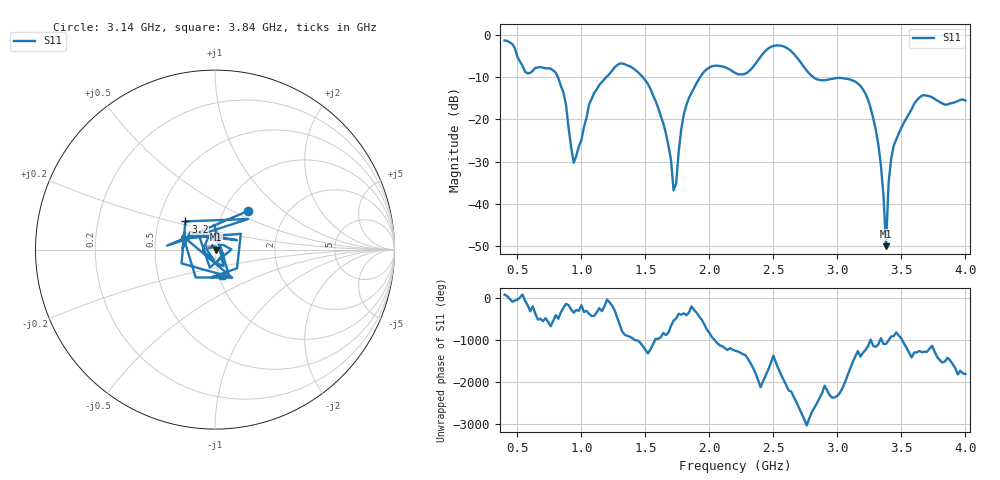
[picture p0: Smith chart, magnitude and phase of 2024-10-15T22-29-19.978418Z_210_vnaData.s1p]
! Created with skrf (http://scikit-rf.org).
# Hz S RI R 50.0
!freq ReS11 ImS11
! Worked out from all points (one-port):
!   181 points, 400 MHz to 4 GHz, reference 50 ohm
!   lowest |S11| = -50.1 dB at 3.38 GHz (marker M1), VSWR 1.01, Z = 50.3 - j0.0736 ohm
!   |S11| at or under -10 dB: 817 MHz to 1.193 GHz (376.1 MHz wide, 37.4 % of centre); 1.482 GHz to 1.926 GHz (444.7 MHz wide, 26.1 % of centre); 2.815 GHz to end of sweep
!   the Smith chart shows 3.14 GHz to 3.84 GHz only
!   S11 on the Smith chart (normalised r, x): 3.14 GHz: 1.29, +0.60; 3.2 GHz: 0.69, +0.23; 3.84 GHz: 1.04, -0.31
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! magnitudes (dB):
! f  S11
! 400 MHz  -1.2
! 800 MHz  -8.9
! 860 MHz  -13.6
! 940 MHz  -30.3
! 1.1 GHz  -13.7
! 1.3 GHz  -6.7
! 1.54 GHz  -12.8
! 1.66 GHz  -23.3
! 1.72 GHz  -36.9
! 1.76 GHz  -27.7
! 1.82 GHz  -16.6
! 1.94 GHz  -9.4
! 2.2 GHz  -8.9
! 2.5 GHz  -2.5
! 2.66 GHz  -4.4
! 2.84 GHz  -10.4
! 3.1 GHz  -10.5
! 3.14 GHz  -11.0
! 3.2 GHz  -12.8
! 3.32 GHz  -26.1
! 3.36 GHz  -38.0
! 3.38 GHz  -50.1
! 3.4 GHz  -35.0
! 3.42 GHz  -29.4
! 3.56 GHz  -18.6
! 3.66 GHz  -14.3
! 3.84 GHz  -16.5
! 4 GHz  -15.5
